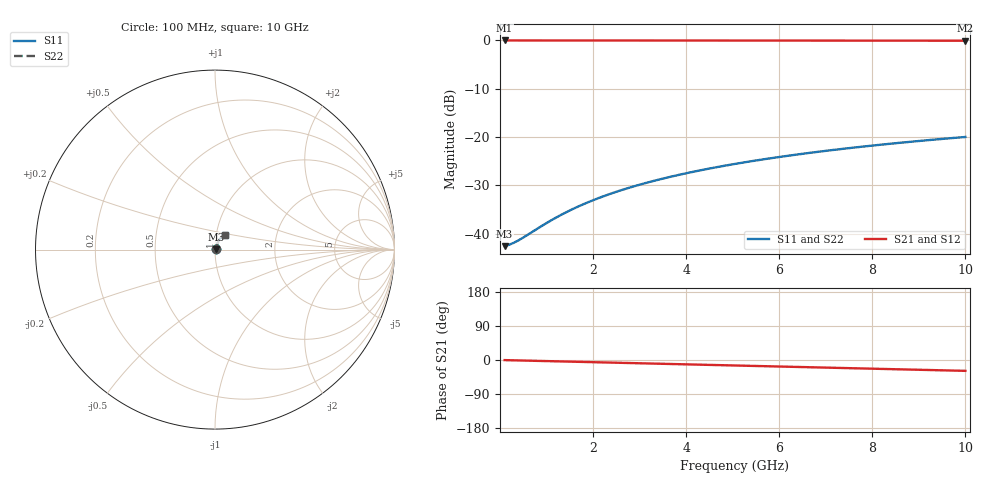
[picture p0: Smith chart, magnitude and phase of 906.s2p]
# Hz S RI R 50.00
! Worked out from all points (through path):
!   100 points, 100 MHz to 10 GHz, reference 50 ohm
!   highest |S21| = -0.06 dB at 100 MHz (marker M1); lowest = -0.1 dB at 10 GHz (marker M2)
!   group delay of S21, straight-line fit = 7.96 ps
!   lowest |S11| = -42.5 dB at 100 MHz (marker M3), VSWR 1.02, Z = 50.7 + j0.102 ohm
!   |S11| at or under -10 dB: start of sweep to end of sweep
!   |S22| runs from -42.5 to -20.0 dB; largest |S21 - S12| = 0
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1e8  0.00739 0.00101  0.9926 -0.00497  0.9926 -0.00497  0.00739 0.00101
2e8  0.00746 0.00202  0.9925 -0.00994  0.9925 -0.00994  0.00746 0.00202
3e8  0.00752 0.00302  0.9924 -0.0149  0.9924 -0.0149  0.00752 0.00302
4e8  0.00758 0.00403  0.9923 -0.0199  0.9923 -0.0199  0.00758 0.00403
9e8  0.008 0.00905  0.9913 -0.0447  0.9913 -0.0447  0.008 0.00905
1.2e9  0.00836 0.0121  0.9905 -0.0596  0.9905 -0.0596  0.00836 0.0121
1.5e9  0.00881 0.015  0.9894 -0.0745  0.9894 -0.0745  0.00881 0.015
1.8e9  0.00934 0.018  0.988 -0.0893  0.988 -0.0893  0.00934 0.018
2.1e9  0.00996 0.021  0.9865 -0.1042  0.9865 -0.1042  0.00996 0.021
2.5e9  0.0109 0.0249  0.9841 -0.1239  0.9841 -0.1239  0.0109 0.0249
2.9e9  0.012 0.0288  0.9812 -0.1435  0.9812 -0.1435  0.012 0.0288
3.4e9  0.0136 0.0335  0.9771 -0.168  0.9771 -0.168  0.0136 0.0335
3.8e9  0.0151 0.0373  0.9734 -0.1875  0.9734 -0.1875  0.0151 0.0373
4.2e9  0.0167 0.0409  0.9692 -0.2069  0.9692 -0.2069  0.0167 0.0409
4.6e9  0.0185 0.0446  0.9647 -0.2262  0.9647 -0.2262  0.0185 0.0446
5.1e9  0.0208 0.049  0.9584 -0.2502  0.9584 -0.2502  0.0208 0.049
5.9e9  0.0251 0.0558  0.9472 -0.2882  0.9472 -0.2882  0.0251 0.0558
6.7e9  0.0299 0.0622  0.9344 -0.3257  0.9344 -0.3257  0.0299 0.0622
7.5e9  0.0352 0.0682  0.9201 -0.3625  0.9201 -0.3625  0.0352 0.0682
8.4e9  0.0417 0.0744  0.9022 -0.4032  0.9022 -0.4032  0.0417 0.0744
9.2e9  0.048 0.0794  0.8847 -0.4385  0.8847 -0.4385  0.048 0.0794
1e10  0.0546 0.0839  0.8659 -0.473  0.8659 -0.473  0.0546 0.0839
